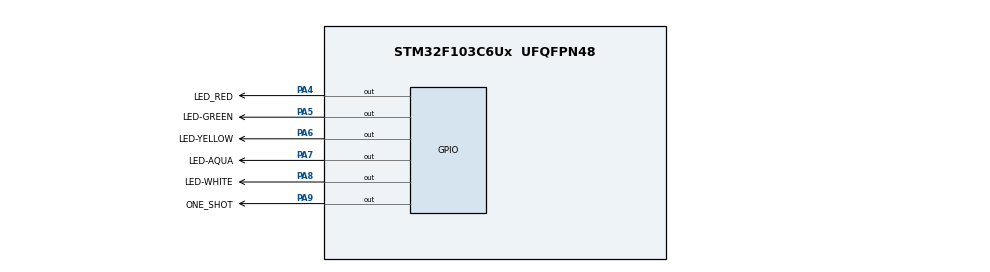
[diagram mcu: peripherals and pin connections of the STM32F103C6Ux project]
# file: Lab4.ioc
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Mcu.Family=STM32F1
Mcu.Name=STM32F103C6Ux
Mcu.Package=UFQFPN48
NVIC.PriorityGroup=NVIC_PRIORITYGROUP_4
NVIC.TIM2_IRQn=true\:0\:0\:false\:false\:true\:true\:true
PA4.GPIO_Label=LED_RED
PA4.Signal=GPIO_Output
PA5.GPIO_Label=LED-GREEN
PA5.Signal=GPIO_Output
PA6.GPIO_Label=LED-YELLOW
PA6.Signal=GPIO_Output
PA7.GPIO_Label=LED-AQUA
PA7.Signal=GPIO_Output
PA8.GPIO_Label=LED-WHITE
PA8.Signal=GPIO_Output
PA9.GPIO_Label=ONE_SHOT
PA9.Signal=GPIO_Output
ProjectManager.HeapSize=0x200
ProjectManager.StackSize=0x400
ProjectManager.TargetToolchain=STM32CubeIDE
RCC.APB1Freq_Value=8000000
RCC.APB2Freq_Value=8000000
TIM2.Period=9
TIM2.Prescaler=7999
VP_SYS_VS_ND.Mode=No_Debug
VP_TIM2_VS_ClockSourceINT.Mode=Internal
board=custom

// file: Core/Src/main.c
/* USER CODE BEGIN Header */
/**
  ******************************************************************************
  * @file           : main.c
  * @brief          : Main program body
  ******************************************************************************
  * @attention
  *
  * <h2><center>&copy; Copyright (c) 2023 STMicroelectronics.
  * All rights reserved.</center></h2>
  *
  * This software component is licensed by ST under BSD 3-Clause license,
  * the "License"; You may not use this file except in compliance with the
  * License. You may obtain a copy of the License at:
  *                        opensource.org/licenses/BSD-3-Clause
  *
  ******************************************************************************
  */
/* USER CODE END Header */
#include "main.h"
#include "scheduler.h"

TIM_HandleTypeDef htim2;

void SystemClock_Config(void);
static void MX_TIM2_Init(void);
static void MX_GPIO_Init(void);

/* USER CODE BEGIN 0 */
void LED_RED_Blink(){
	   HAL_GPIO_TogglePin(LED_RED_GPIO_Port, LED_RED_Pin);
}
void LED_GREEN_Blink(){
	   HAL_GPIO_TogglePin(LED_GREEN_GPIO_Port, LED_GREEN_Pin);
}
void LED_YELLOW_Blink(){
	   HAL_GPIO_TogglePin(LED_YELLOW_GPIO_Port, LED_YELLOW_Pin);
}
void LED_AQUA_Blink(){
	   HAL_GPIO_TogglePin(LED_AQUA_GPIO_Port, LED_AQUA_Pin);
}
void LED_WHITE_Blink(){
	   HAL_GPIO_TogglePin(LED_WHITE_GPIO_Port, LED_WHITE_Pin);
}
void ONE_SHOT_Blink(){
	HAL_GPIO_TogglePin(ONE_SHOT_GPIO_Port, ONE_SHOT_Pin);
}

/* USER CODE END 0 */

int main(void)
{
  /* USER CODE BEGIN 1 */
	SCH_Add_Task(LED_RED_Blink, 100, 50);
	SCH_Add_Task(LED_GREEN_Blink, 200, 100);
	SCH_Add_Task(LED_YELLOW_Blink, 300, 150);
	SCH_Add_Task(LED_AQUA_Blink, 400, 200);
	SCH_Add_Task(LED_WHITE_Blink, 500, 250);
	SCH_Add_Task(ONE_SHOT_Blink, 600, 0);

  /* USER CODE END 1 */

  /* MCU Configuration--------------------------------------------------------*/

  /* Reset of all peripherals, Initializes the Flash interface and the Systick. */
  HAL_Init();

  /* Configure the system clock */
  SystemClock_Config();

  /* Initialize all configured peripherals */
  MX_TIM2_Init();
  MX_GPIO_Init();
  /* USER CODE BEGIN 2 */
  HAL_TIM_Base_Start_IT(&htim2);
  /* USER CODE END 2 */

  /* Infinite loop */
  /* USER CODE BEGIN WHILE */
  while (1)
  {
	  SCH_Dispatch_Tasks();
    /* USER CODE END WHILE */

  }
}

void SystemClock_Config(void)
{
  RCC_OscInitTypeDef RCC_OscInitStruct = {0};
  RCC_ClkInitTypeDef RCC_ClkInitStruct = {0};

  /** Initializes the RCC Oscillators according to the specified parameters
  * in the RCC_OscInitTypeDef structure.
  */
  RCC_OscInitStruct.OscillatorType = RCC_OSCILLATORTYPE_HSI;
  RCC_OscInitStruct.HSIState = RCC_HSI_ON;
  RCC_OscInitStruct.HSICalibrationValue = RCC_HSICALIBRATION_DEFAULT;
  RCC_OscInitStruct.PLL.PLLState = RCC_PLL_NONE;
  if (HAL_RCC_OscConfig(&RCC_OscInitStruct) != HAL_OK)
  {
    Error_Handler();
  }
  /** Initializes the CPU, AHB and APB buses clocks
  */
  RCC_ClkInitStruct.ClockType = RCC_CLOCKTYPE_HCLK|RCC_CLOCKTYPE_SYSCLK
                              |RCC_CLOCKTYPE_PCLK1|RCC_CLOCKTYPE_PCLK2;
  RCC_ClkInitStruct.SYSCLKSource = RCC_SYSCLKSOURCE_HSI;
  RCC_ClkInitStruct.AHBCLKDivider = RCC_SYSCLK_DIV1;
  RCC_ClkInitStruct.APB1CLKDivider = RCC_HCLK_DIV1;
  RCC_ClkInitStruct.APB2CLKDivider = RCC_HCLK_DIV1;

  if (HAL_RCC_ClockConfig(&RCC_ClkInitStruct, FLASH_LATENCY_0) != HAL_OK)
  {
    Error_Handler();
  }
}

static void MX_TIM2_Init(void)
{

  TIM_ClockConfigTypeDef sClockSourceConfig = {0};
  TIM_MasterConfigTypeDef sMasterConfig = {0};

  htim2.Instance = TIM2;
  htim2.Init.Prescaler = 7999;
  htim2.Init.CounterMode = TIM_COUNTERMODE_UP;
  htim2.Init.Period = 9;
  htim2.Init.ClockDivision = TIM_CLOCKDIVISION_DIV1;
  htim2.Init.AutoReloadPreload = TIM_AUTORELOAD_PRELOAD_DISABLE;
  if (HAL_TIM_Base_Init(&htim2) != HAL_OK)
  {
    Error_Handler();
  }
  sClockSourceConfig.ClockSource = TIM_CLOCKSOURCE_INTERNAL;
  if (HAL_TIM_ConfigClockSource(&htim2, &sClockSourceConfig) != HAL_OK)
  {
    Error_Handler();
  }
  sMasterConfig.MasterOutputTrigger = TIM_TRGO_RESET;
  sMasterConfig.MasterSlaveMode = TIM_MASTERSLAVEMODE_DISABLE;
  if (HAL_TIMEx_MasterConfigSynchronization(&htim2, &sMasterConfig) != HAL_OK)
  {
    Error_Handler();
  }

}

static void MX_GPIO_Init(void)
{
  GPIO_InitTypeDef GPIO_InitStruct = {0};

  /* GPIO Ports Clock Enable */
  __HAL_RCC_GPIOA_CLK_ENABLE();

  /*Configure GPIO pin Output Level */
  HAL_GPIO_WritePin(GPIOA, LED_RED_Pin|LED_GREEN_Pin|LED_YELLOW_Pin|LED_AQUA_Pin
                          |LED_WHITE_Pin|ONE_SHOT_Pin, GPIO_PIN_RESET);

  /*Configure GPIO pins : LED_RED_Pin LED_GREEN_Pin LED_YELLOW_Pin LED_AQUA_Pin
                           LED_WHITE_Pin ONE_SHOT_Pin */
  GPIO_InitStruct.Pin = LED_RED_Pin|LED_GREEN_Pin|LED_YELLOW_Pin|LED_AQUA_Pin
                          |LED_WHITE_Pin|ONE_SHOT_Pin;
  GPIO_InitStruct.Mode = GPIO_MODE_OUTPUT_PP;
  GPIO_InitStruct.Pull = GPIO_NOPULL;
  GPIO_InitStruct.Speed = GPIO_SPEED_FREQ_LOW;
  HAL_GPIO_Init(GPIOA, &GPIO_InitStruct);

}

/* USER CODE BEGIN 4 */
void HAL_TIM_PeriodElapsedCallback(TIM_HandleTypeDef *htim2){
	SCH_Update();
}
/* USER CODE END 4 */

void Error_Handler(void)
{
  __disable_irq();
  while (1)
  {
  }
}

/************************ (C) COPYRIGHT STMicroelectronics *****END OF FILE****/
